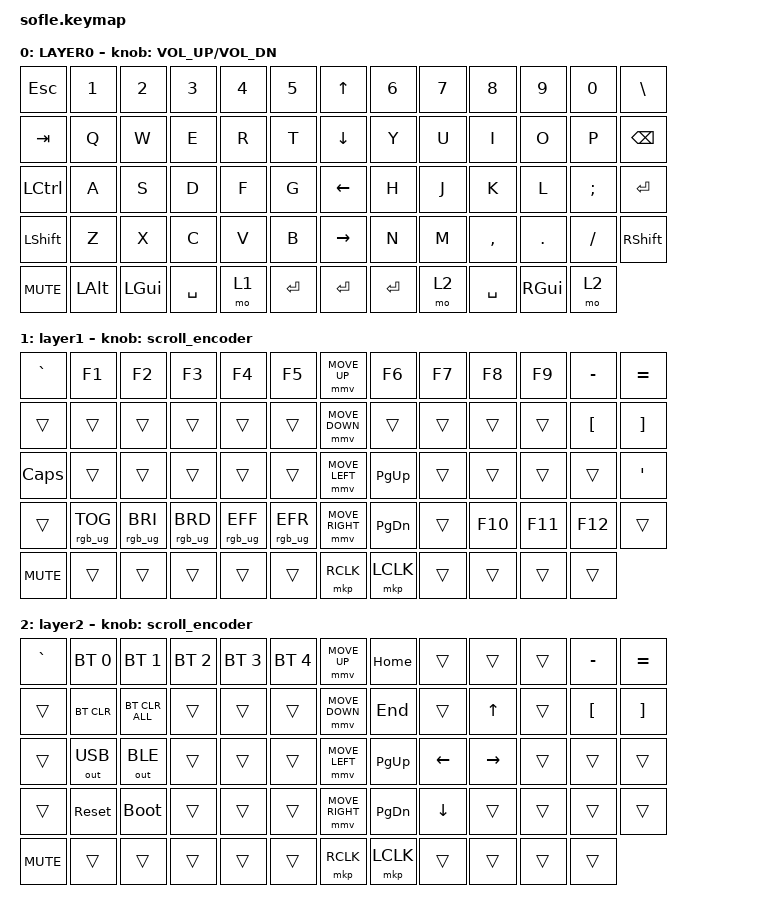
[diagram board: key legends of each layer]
#include <behaviors/mouse_keys.dtsi>
#include <behaviors.dtsi>
#include <dt-bindings/zmk/bt.h>
#include <dt-bindings/zmk/keys.h>
#include <dt-bindings/zmk/mouse.h>
#include <dt-bindings/zmk/outputs.h>
#include <dt-bindings/zmk/rgb.h>

#define ZMK_MOUSE_DEFAULT_MOVE_VAL 1200  // 600
#define ZMK_MOUSE_DEFAULT_SCRL_VAL 20    // 10
#define U_MS_U &mmv MOVE_UP
#define U_MS_D &mmv MOVE_DOWN
#define U_MS_L &mmv MOVE_LEFT
#define U_MS_R &mmv MOVE_RIGHT
#define ZMK_MOUSE_DEFAULT_MOVE_VAL 1200  //  600
#define ZMK_MOUSE_DEFAULT_SCRL_VAL 20    // 10

/ {
    behaviors {
        mmv {
            acceleration-exponent = <1>;      // 1
            time-to-max-speed-ms = <960>;    // 40
            delay-ms = <0>;                   // 0
        };

        msc {
            acceleration-exponent = <1>;      // 0
            time-to-max-speed-ms = <20000>;      // 500
            delay-ms = <0>;                   //   10
        };
    };

    scroll_encoder: scroll_encoder {
        compatible = "zmk,behavior-sensor-rotate";
        #sensor-binding-cells = <0>;
        bindings = <&msc SCRL_UP>, <&msc SCRL_DOWN>;

        tap-ms = <30>;
    };

    keymap {
        compatible = "zmk,keymap";

        layer0 {
            bindings = <
&kp ESC     &kp N1     &kp N2        &kp N3     &kp N4      &kp N5       &kp UP_ARROW     &kp N6      &kp N7     &kp N8     &kp N9    &kp N0      &kp BSLH
&kp TAB     &kp Q      &kp W         &kp E      &kp R       &kp T        &kp DOWN_ARROW   &kp Y       &kp U      &kp I      &kp O     &kp P       &kp BSPC
&kp LCTRL   &kp A      &kp S         &kp D      &kp F       &kp G        &kp LEFT_ARROW   &kp H       &kp J      &kp K      &kp L     &kp SEMI    &kp ENTER
&kp LSHFT   &kp Z      &kp X         &kp C      &kp V       &kp B        &kp RIGHT_ARROW  &kp N       &kp M      &kp COMMA  &kp DOT   &kp FSLH    &kp RSHFT
&kp C_MUTE  &kp LALT   &kp LEFT_GUI  &kp SPACE  &mo 1       &kp ENTER    &kp ENTER        &kp ENTER   &mo 2      &kp SPACE  &kp RIGHT_GUI  &mo 2
            >;
            display-name = "LAYER0";
            sensor-bindings = <&inc_dec_kp C_VOLUME_UP C_VOL_DN>;
        };

        layer_1 {
            bindings = <
&kp GRAVE   &kp F1           &kp F2           &kp F3           &kp F4           &kp F5           &mmv MOVE_UP     &kp F6       &kp F7      &kp F8    &kp F9   &kp MINUS         &kp EQUAL
&trans      &trans           &trans           &trans           &trans           &trans           &mmv MOVE_DOWN   &trans       &trans     &trans    &trans   &kp LEFT_BRACKET  &kp RIGHT_BRACKET
&kp CAPS    &trans           &trans           &trans           &trans           &trans           &mmv MOVE_LEFT   &kp PG_UP    &trans     &trans    &trans   &trans            &kp APOS
&trans      &rgb_ug RGB_TOG  &rgb_ug RGB_BRI  &rgb_ug RGB_BRD  &rgb_ug RGB_EFF  &rgb_ug RGB_EFR  &mmv MOVE_RIGHT  &kp PG_DN    &trans     &kp F10   &kp F11  &kp F12           &trans
&kp C_MUTE  &trans           &trans           &trans           &trans           &trans           &mkp RCLK        &mkp LCLK    &trans     &trans    &trans   &trans
            >;
            display-name = "layer1";
            sensor-bindings = <&scroll_encoder>;
        };

        layer_2 {
            bindings = <
&kp GRAVE  &bt BT_SEL 0  &bt BT_SEL 1    &bt BT_SEL 2  &bt BT_SEL 3  &bt BT_SEL 4  &mmv MOVE_UP     &kp HOME    &trans     &trans        &trans     &kp MINUS      &kp EQUAL
&trans     &bt BT_CLR    &bt BT_CLR_ALL  &trans        &trans        &trans        &mmv MOVE_DOWN   &kp END  &trans  &kp UP       &trans     &kp LEFT_BRACKET  &kp RIGHT_BRACKET
&trans  &out OUT_USB  &out OUT_BLE    &trans        &trans        &trans        &mmv MOVE_LEFT   &kp PG_UP    &kp LEFT  &kp RIGHT      &trans  &trans      &trans
&trans     &sys_reset    &bootloader     &trans        &trans        &trans        &mmv MOVE_RIGHT  &kp PG_DN    &kp DOWN     &trans      &trans     &trans   &trans
&kp C_MUTE  &trans       &trans          &trans        &trans        &trans        &mkp RCLK        &mkp LCLK &trans     &trans        &trans     &trans
            >;
            display-name = "layer2";
            sensor-bindings = <&scroll_encoder>;
        };
    };
};
